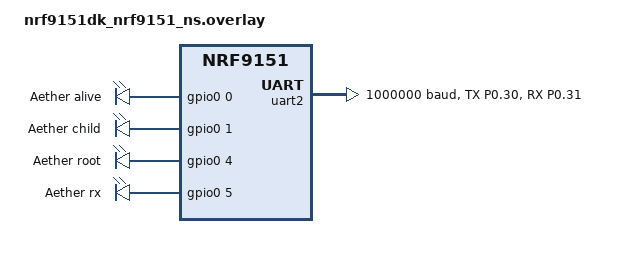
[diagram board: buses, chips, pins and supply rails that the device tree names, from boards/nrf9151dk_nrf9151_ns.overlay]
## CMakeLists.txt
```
# SPDX-License-Identifier: MIT
#
# Æther/HONR mesh demo application over the DECT NR+ PHY.
# Consumes the Æther/HONR mesh stack (aephyr) and 9P4Z as Zephyr modules:
#   west build -b thingy91x/nrf9151/ns . -- \
#     -DZEPHYR_EXTRA_MODULES="/Users/jrsharp/src/aephyr;/Users/jrsharp/src/9p4z"

cmake_minimum_required(VERSION 3.20.0)

find_package(Zephyr REQUIRED HINTS $ENV{ZEPHYR_BASE})
project(dect_mesh)

# Memfault picks up memfault_platform_config.h and the heartbeat metric defs
# from this directory.
zephyr_include_directories(config)

target_sources(app PRIVATE src/main.c)
target_sources(app PRIVATE src/aether_led.c)
target_sources_ifdef(CONFIG_AETHER_CGA app PRIVATE src/cga.c)
target_sources_ifdef(CONFIG_NINEP app PRIVATE src/aether_9p.c)
target_sources_ifdef(CONFIG_NINEP app PRIVATE src/aether_9p_mesh.c)
target_sources_ifdef(CONFIG_NINEP app PRIVATE src/aether_net.c)
target_sources_ifdef(CONFIG_MEMFAULT app PRIVATE src/dect_metrics.c)
```

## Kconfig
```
# SPDX-License-Identifier: MIT

config AETHER_CGA
	bool "Cryptographically Generated Address (persistent node identity)"
	help
	  Derive the durable node_eui from a persistent P-256 keypair held as a
	  PSA persistent key (TF-M Internal Trusted Storage), so the Aether address
	  survives reboots and the private key stays in the secure enclave.
	  Requires PSA crypto (a non-minimal TF-M profile).

source "Kconfig.zephyr"
```

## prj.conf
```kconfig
# DECT NR+ PHY mesh demo application — the Æther/HONR self-organizing mesh (from the
# aephyr module) plus a /net/aether 9P gateway. Memfault and the nRF5340 BLE
# L2CAP<->UART relay are added on top (sysbuild) as follow-on layers.

# --- System ----------------------------------------------------------------
CONFIG_MAIN_STACK_SIZE=4096
CONFIG_SYSTEM_WORKQUEUE_STACK_SIZE=2048
CONFIG_FPU=y
CONFIG_ASSERT=y
# Larger heap: the 9P server allocates its RX/TX message buffers from it.
CONFIG_HEAP_MEM_POOL_SIZE=49152

# --- Networking core + custom L2 -------------------------------------------
# Custom HeyMac L2 (not IP-routed), but net_pkt needs a packet protocol, so
# keep IPv6 selected and silence its housekeeping to save DECT airtime.
CONFIG_NETWORKING=y
CONFIG_NET_L2_CUSTOM=y
CONFIG_NET_IPV6_ND=n
CONFIG_NET_IPV6_DAD=n
CONFIG_NET_IPV6_MLD=n
CONFIG_NET_PKT_RX_COUNT=8
CONFIG_NET_PKT_TX_COUNT=8
CONFIG_NET_BUF_RX_COUNT=16
CONFIG_NET_BUF_TX_COUNT=16
# Hold a whole DECT NR+ frame in ONE net_buf so the mesh RX payload is contiguous
# (aether_mesh_recv reads pkt->buffer->data directly). The Zephyr default of 128
# chained a >128-byte frame across net_bufs and the RX path saw only the first --
# fine for sub-128 LoRa frames, broken for DECT's larger payloads. Match the
# 512-byte tx_frame_buf / max transport block.
CONFIG_NET_BUF_DATA_SIZE=512

# --- Æther/HeyMac mesh (aephyr) with HONR structured routing ---------------
CONFIG_NET_L2_HEYMAC=y
CONFIG_AETHER_MESH=y
CONFIG_AETHER_ROUTING_HONR=y

# --- DECT NR+ PHY driver (US 915 MHz = NR+ band 4, carriers 525-551) --------
# Default to US 915 MHz (band 4 / band group 1). This is the intended operating
# band; overlay-915.conf now just re-sets the same values (redundant). Do NOT
# revert the default to 1711/band-9 (~1920 MHz): a CGA build that forgot the
# overlay silently moved the fleet off 915 -- keep 915 the default so it can't.
CONFIG_AETHER_DECT=y
CONFIG_AETHER_DECT_BAND_GROUP=1
CONFIG_AETHER_DECT_CARRIER=538
CONFIG_AETHER_DECT_TX_POWER=10
CONFIG_AETHER_DECT_MCS=1
CONFIG_AETHER_DECT_TX_QUEUE_SIZE=8
# Inter-chip UART hardening: run the DECT RX frame processor at the SAME priority
# as the 9P/UART server (NINEP_UART_PROC_PRIORITY=6) instead of well above it
# (was 2). At equal priority, timeslicing + the k_yield in the RX loop (aephyr)
# let the two interleave, so a burst of mesh frames can't starve the 9P server
# that answers the companion relay -- the relay<->9151 "uart wedge" under
# mesh-relay load. Deeper RX queue absorbs bursts while RX is timesliced.
CONFIG_AETHER_DECT_RX_THREAD_PRIO=6
CONFIG_AETHER_DECT_RX_QUEUE_SIZE=16

# --- DECT NR+ PHY modem ----------------------------------------------------
CONFIG_NRF_MODEM_LIB=y
CONFIG_NRF_MODEM_LINK_BINARY_DECT_PHY=y
CONFIG_MODEM_ANTENNA=n
CONFIG_HWINFO=y

# Minimal TF-M profile: keeps the secure image's SRAM tiny (~16K vs ~88K for the
# full profile) so the non-secure app gets the RAM it needs. The thingy91x board
# forces this on regardless, but the nRF9151 DK does NOT -- without this line the
# DK build falls back to full TF-M and overflows RAM by ~52K. PSA crypto (for the
# CGA below) is provided app-side by nrf_security/Oberon, so minimal TF-M is fine.
CONFIG_TFM_PROFILE_TYPE_MINIMAL=y

# --- CGA: persistent, key-bound node identity ------------------------------
# node_eui = SHA256(pubkey)[:6] where the keypair is a P-256 scalar seed. The
# pubkey is derived via the Oberon ocrypto P-256 primitive (nrf_security, app-
# side under stock minimal TF-M -- no secure-image bump); these WANTs keep the
# ocrypto P-256 + SHA-256 code linked and provide the CSPRNG for the seed. Stage
# 1 keeps the seed in app-managed NVS via settings. Future state: move the seed
# into TF-M ITS as a PSA persistent key.
CONFIG_AETHER_CGA=y
CONFIG_PSA_WANT_ALG_SHA_256=y
CONFIG_PSA_WANT_ALG_ECDSA=y
CONFIG_PSA_WANT_KEY_TYPE_ECC_KEY_PAIR_IMPORT=y
CONFIG_PSA_WANT_KEY_TYPE_ECC_PUBLIC_KEY=y
CONFIG_PSA_WANT_ECC_SECP_R1_256=y
CONFIG_PSA_WANT_GENERATE_RANDOM=y
# App-managed key persistence (the seed) in NVS via the settings subsystem. The
# settings_storage partition is 8 KB of external QSPI = 2 erase pages, so the NVS
# backend must span exactly 2 sectors (the default 8 would overrun the partition
# and fail to mount).
CONFIG_SETTINGS=y
CONFIG_SETTINGS_NVS=y
CONFIG_NVS=y
CONFIG_SETTINGS_NVS_SECTOR_COUNT=2

# --- Shell (app registers 'aether'; driver registers 'dect') ---------------
CONFIG_SHELL=y
CONFIG_AETHER_SHELL=n
CONFIG_DEVICE_SHELL=y

# --- 9P: expose the mesh as /net/aether over UART --------------------------
# The transport UART is selected by the zephyr,ninep-uart chosen node in
# app.overlay; the nRF5340 relays it to BLE L2CAP for clients.
CONFIG_NINEP=y
CONFIG_NINEP_SERVER=y
CONFIG_NINEP_TRANSPORT_UART=y
# 9P server RX: interrupt-driven, with the handlers run on a dedicated off-ISR
# thread (NINEP_UART_DEFERRED_RX). The old lowest-priority busy-poll got starved
# by the DECT mesh (esp. while scanning for a peer) -> tens-of-seconds reply
# latency -> client timeouts. Deferred-RX keeps the control plane responsive
# regardless of mesh load, and runs the stack-heavy /dev/firmware DFU path
# (flash_img / boot_read_bank_header on the external QSPI) off the ISR.
CONFIG_NINEP_UART_DEFERRED_RX=y
# 9P-vs-mesh scheduling under load (RESOLVED in 0.7.44): the real starvation was
# the DECT *RX frame processor* (aether_dect rx_thread) sitting at PREEMPT(2), far
# above the 9P/UART server (PREEMPT 6). Under mesh-relay load it drained the whole
# rx_msgq back-to-back and starved the 9P server -> the companion relay's reads to
# the 9151 timed out (the "uart wedge"). Fix = equal priority (RX_THREAD_PRIO=6,
# above) + a k_yield in the rx_thread loop (aephyr) so RX and 9P interleave via
# timeslicing instead of RX monopolizing. Past mis-fix: raising 9P to COOP(1) fixed
# the root but starved a busy child's mesh -> its 9P server stopped answering
# Tversion; equal-priority-plus-yield is the balance that works both ways.
# The processing thread's stack -- the DFU/flash path needs real room (the old
# 1024 overflowed: UFSR.STKOF usage fault -> reset).
CONFIG_NINEP_UART_POLLING_STACK_SIZE=8192
CONFIG_NINEP_MAX_MESSAGE_SIZE=8192
CONFIG_NINEP_MAX_FIDS=32
CONFIG_NINEP_MAX_TAGS=16
CONFIG_NINEP_SERVER_MAX_FIDS=32
# Async (worker-dispatched) blocking reads: the /net/aether `data` read blocks
# until a datagram arrives; without this it would freeze the single deferred-RX
# processing thread (and the whole 9P server) for every other request. Each of N
# workers serves one concurrently-blocked conversation read.
CONFIG_NINEP_SERVER_ASYNC_READ=y
CONFIG_NINEP_SERVER_ASYNC_READ_WORKERS=4
CONFIG_SERIAL=y
CONFIG_UART_INTERRUPT_DRIVEN=y

# --- /dev/firmware: this 9151's own MCUboot DFU over 9P ---------------------
# ninep_dfu streams a signed image into the MCUboot secondary slot (which on the
# Thingy:91 X lives in the external GD25LE255E QSPI flash; PM already places it
# there). Re-exported by the 5340 as /dev/fw9151. The external SPI-NOR driver
# (CONFIG_SPI_NOR) is already on for the secondary slot.
CONFIG_NINEP_DFU=y
CONFIG_IMG_MANAGER=y
# MCUboot image version stamped into the signed image header (what /dev/fw9151
# reports as "current"/"pending"). Bump this to make an OTA swap verifiable --
# the VERSION file only drives the boot banner, not the signing version.
CONFIG_MCUBOOT_IMGTOOL_SIGN_VERSION="0.7.84+0"

# Boot-banner app name (default was "My Application"). Keep the VERSION file in
# sync with SIGN_VERSION above so the banner version matches the OTA image.
CONFIG_NCS_APPLICATION_BOOT_BANNER_STRING="DECTstrous Mesh"
# Progressive (page-at-a-time) erase of the secondary slot during streaming,
# not one long up-front erase — keeps USB/BLE alive and feeds watchdogs. On the
# 9151 the secondary is external QSPI flash, where this matters even more.
CONFIG_IMG_ERASE_PROGRESSIVELY=y
CONFIG_STREAM_FLASH=y
CONFIG_FLASH=y
CONFIG_FLASH_MAP=y
CONFIG_REBOOT=y

# --- Memfault: report mesh health to the fleet -----------------------------
# Collection works without a key; paste your project key to upload chunks.
CONFIG_MEMFAULT=y
CONFIG_MEMFAULT_NCS_PROJECT_KEY=""
CONFIG_MEMFAULT_NCS_DEVICE_ID_RUNTIME=y
CONFIG_MEMFAULT_NCS_FW_TYPE="dect-nrplus-mesh"
# Report the real build version to Memfault: leave FW_VERSION unset so it
# defaults to $(APP_VERSION_TWEAK_STRING) -- the VERSION file (e.g. 0.7.40+0) --
# instead of a hardcoded string. Bumping VERSION now tracks through to Memfault.
CONFIG_MEMFAULT_NCS_FW_VERSION_STATIC=y
CONFIG_MEMFAULT_NCS_HW_VERSION="thingy91x"
# High-resolution telemetry cadence for the roaming field test: a 15 s heartbeat
# (paired with the 15 s collector in dect_metrics.c) so RF/link/thermal metrics
# track a mobile node's position closely. Back off for long-term production.
CONFIG_MEMFAULT_METRICS_HEARTBEAT_INTERVAL_SECS=15

# --- Logging ---------------------------------------------------------------
CONFIG_LOG=y
CONFIG_NET_L2_HEYMAC_LOG_LEVEL=3
CONFIG_AETHER_MESH_LOG_LEVEL=3
CONFIG_AETHER_DECT_LOG_LEVEL=3
# 9P server/DFU at WARNING, not INFO. At INFO the server logs every message
# ("Received 9P message", Twalk/Topen/Rclunk); during a 276 KB OTA that floods
# uart0 -> the 5340 console bridge -> CDC. If nothing drains that CDC, the path
# back-pressures and stalls the 9151's 9P server mid-OTA (Tversion -116, only a
# power-cycle recovers it). Silencing the per-message logs keeps the OTA from
# ever flooding the console, so it no longer depends on a console reader.
CONFIG_NINEP_LOG_LEVEL_WRN=y
```

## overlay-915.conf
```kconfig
# DECT NR+ PHY on the US 915 MHz ISM band (band 4) instead of ~1.9 GHz (band 9).
#
#   west build ... --sysbuild -- -Ddect_mesh_EXTRA_CONF_FILE=overlay-915.conf
#
# Channel center frequency (verified: band 1 carrier 1657 -> 1881.792 MHz edge):
#   Fc[MHz] = 450.144 + carrier * 0.864
#
# The modem (mfw-nr+-phy 2.0.0) reports its supported bands via `dect bands`:
#   band 4   group 1 (~1 GHz)  carriers 525-551  -> 903.744-926.208 MHz  pwr class 3
#   band 1/2/9/22            group 0 (~2 GHz)  carriers 1657-1711  ~1.88-1.93 GHz
#
# IMPORTANT: band 22 is NOT 915 MHz on this modem -- it is group 0, carriers
# 1691-1711 ~= 1911-1928 MHz. The sub-GHz / 915 band is *band 4* (group 1).
# CONFIG_AETHER_DECT_BAND_GROUP=1 selects the ~1 GHz group (band 4); the carrier
# MUST be in 525-551 or the modem rejects every TX with UNSUPPORTED_CARRIER
# (0x6000) -- which is exactly what carrier 1701 (a group-0 carrier) did.
#   carrier 525 -> 903.744 MHz   538 -> 914.976 MHz (~915)   551 -> 926.208 MHz
#
# !! GATE BEFORE TRANSMITTING !!
#   1. DONE 2026-06-02: `dect bands` + Nordic docs confirm band 4 = group 1,
#      carriers 525-551, power class 3 (19 dBm max), band_group_index=1.
#   2. Verify the carrier's ACTUAL center with the RTL-SDR. The 538~=915.0 MHz
#      figure is my ETSI-formula extrapolation (Fc=450.144+n*0.864); the exact
#      mapping is modem-internal (ETSI TS 103 636-2 ch 5.2) -- measure, don't trust.
#   3. REGULATORY: Nordic classifies band 4 as **R&D-EVALUATION ONLY** (nRF9151
#      LACA A0/A1; A0AB to be qualified) and warns its 525-551 carriers INTERFERE
#      WITH LTE/cellular. Nordic's DECT PHY docs cite 47 CFR Part 15.323 (US), NOT
#      15.247 -- so this is a bench/experimentation band, not a clean 902-928 ISM
#      deployment channel. Confirm the real regime + keep power low before non-bench TX.

CONFIG_AETHER_DECT_BAND_GROUP=1
CONFIG_AETHER_DECT_CARRIER=538

# Band 4 is power class 3 (vs class 2 for the ~2 GHz bands). Left at the prj.conf
# default index 10 until the RTL-SDR check + FCC EIRP budget are confirmed.
# CONFIG_AETHER_DECT_TX_POWER=...
```

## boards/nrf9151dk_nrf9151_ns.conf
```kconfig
# Board-specific Kconfig for the nRF9151 DK, auto-merged for this board only.
#
# Distinct Memfault software type for the DK build: it is a DIFFERENT binary from
# the Thingy:91 X build (different board memory map + drivers), so its coredumps
# must symbolicate against the DK's own ELF. Memfault keys symbols on
# (software_type, version); sharing the Thingy's type would collide and
# mis-symbolicate. A distinct type keeps the DK's symbols separate -- and lets the
# fleet view tell DK nodes from Thingy nodes.
CONFIG_MEMFAULT_NCS_FW_TYPE="dect-nrplus-mesh-dk"
```

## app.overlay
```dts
/*
 * 9P transport UART. The /net/aether 9P server runs on this UART, separate from
 * the console (uart0). On the Thingy:91X, uart1 is an inter-chip link to the
 * nRF5340, which relays it to BLE L2CAP for clients. On a DK, uart1 is the
 * second VCOM, so the server can be reached directly for bring-up testing.
 */

/ {
	chosen {
		zephyr,ninep-uart = &uart1;
	};
};

&uart1 {
	status = "okay";
	/* Inter-chip 9P link to the nRF5340. Bumped 115200 -> 1 Mbps to lift the
	 * funnel for /net/aether datagram traffic. MUST match the 5340 side; flash
	 * both together (a mismatch breaks the link). Drop to 921600/460800 if the
	 * short inter-chip traces show overruns under sustained OTA streaming. */
	current-speed = <1000000>;
};
```

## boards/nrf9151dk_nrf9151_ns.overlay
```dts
/*
 * nRF9151 DK overlay (mesh node bring-up).
 *
 * This board overlay is auto-applied ONLY for board nrf9151dk/nrf9151/ns, and
 * it REPLACES app.overlay (a board overlay takes precedence over app.overlay in
 * Zephyr's default search), so it must be self-contained.
 *
 * Two DK-specific fixups vs the Thingy:91 X the app targets by default:
 *
 * 1. Mesh-state LEDs. The DK has no RGB LED, so instead of the Thingy's
 *    red/green/blue channels, aether_led.c uses a 4-discrete-LED scheme keyed on
 *    the topo_* nodelabels below (its #if DT_NODE_EXISTS(topo_root) branch):
 *      topo_alive -> LED1 (P0.00)  solid=settled in mesh, blink=searching
 *      topo_child -> LED2 (P0.01)  joined as a child
 *      topo_root  -> LED3 (P0.04)  this node is the HONR root
 *      topo_rx    -> LED4 (P0.05)  datagram activity flash
 *
 * 2. 9P server UART. The app's 9P server needs a chosen zephyr,ninep-uart. On the
 *    Thingy that's uart1 (inter-chip link to the nRF5340, relayed to BLE/USB). The
 *    DK has no spare host VCOM and uart1 is owned by TF-M, so 9P-over-USB is not
 *    available here — this DK is observed via its console shell (uart0/VCOM0) and
 *    is a mesh radio, not a 9P gateway (that's the Thingy's role). To keep the 9P
 *    server's build dependency satisfied we free SERIAL2 (disable the unused
 *    Arduino i2c2 + its unreferenced pcal6408a expander) and bind uart2 to the
 *    freed P0.30/P0.31 pins. The 9P server runs but is not reachable from the host.
 */

#include <zephyr/dt-bindings/gpio/gpio.h>
#include <zephyr/dt-bindings/pinctrl/nrf-pinctrl.h>

/ {
	aether_topo_leds {
		compatible = "gpio-leds";
		topo_alive: topo_alive {
			gpios = <&gpio0 0 GPIO_ACTIVE_HIGH>;
			label = "Aether alive";
		};
		topo_child: topo_child {
			gpios = <&gpio0 1 GPIO_ACTIVE_HIGH>;
			label = "Aether child";
		};
		topo_root: topo_root {
			gpios = <&gpio0 4 GPIO_ACTIVE_HIGH>;
			label = "Aether root";
		};
		topo_rx: topo_rx {
			gpios = <&gpio0 5 GPIO_ACTIVE_HIGH>;
			label = "Aether rx";
		};
	};

	chosen {
		zephyr,ninep-uart = &uart2;
	};
};

&pinctrl {
	uart2_default: uart2_default {
		group1 {
			psels = <NRF_PSEL(UART_TX, 0, 30)>,
				<NRF_PSEL(UART_RX, 0, 31)>;
		};
	};

	uart2_sleep: uart2_sleep {
		group1 {
			psels = <NRF_PSEL(UART_TX, 0, 30)>,
				<NRF_PSEL(UART_RX, 0, 31)>;
			low-power-enable;
		};
	};
};

/* Free SERIAL2 (uart2/i2c2 share the instance) for the 9P server UART. */
&i2c2 {
	status = "disabled";
};

&uart2 {
	status = "okay";
	current-speed = <1000000>;
	pinctrl-0 = <&uart2_default>;
	pinctrl-1 = <&uart2_sleep>;
	pinctrl-names = "default", "sleep";
};
```

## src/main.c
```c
/*
 * Copyright (c) 2025 Æther Authors
 *
 * SPDX-License-Identifier: MIT
 */

#include <zephyr/kernel.h>
#include <zephyr/net/net_if.h>
#include <zephyr/net/heymac.h>
#include <zephyr/net/aether_mesh.h>
#include <zephyr/net/honr.h>
#include "aether_led.h"
#include <zephyr/logging/log.h>
#include <zephyr/shell/shell.h>

LOG_MODULE_REGISTER(aether_basic, LOG_LEVEL_INF);

#include <string.h>
#include <stdio.h>
#include <zephyr/shell/shell_uart.h>

#include "aether_9p.h"
#include "dect_metrics.h"

/* Mesh context, for detailed status (defined in aether_mesh.c). */
extern struct aether_mesh_ctx *g_mesh_ctx;

static struct net_if *aether_iface;

/* Per-node shell prompt, e.g. "ae 1a:2b> ", set once the address is known. */
static char node_prompt[16];

static const char *heymac_state_name(enum heymac_state state)
{
	switch (state) {
	case HEYMAC_STATE_INITIAL:      return "INITIAL";
	case HEYMAC_STATE_INITIALIZING: return "INITIALIZING";
	case HEYMAC_STATE_LURKING:      return "LURKING";
	case HEYMAC_STATE_BEACONING:    return "BEACONING";
	case HEYMAC_STATE_LINKING:      return "LINKING";
	default:                        return "?";
	}
}

/* Party-line broadcast address: every node receives and re-floods. */
static const uint8_t aether_bcast[6] = {0xff, 0xff, 0xff, 0xff, 0xff, 0xff};

/* Party-line chat receive callback: print each incoming message to the
 * console. Runs in the mesh RX thread; printk is used so the line appears
 * regardless of which shell instance (if any) issued a command.
 */
static void chat_recv_cb(struct net_if *iface, const uint8_t src[6],
			 const uint8_t *data, size_t len, bool broadcast, void *user_data)
{
	ARG_UNUSED(iface);
	ARG_UNUSED(user_data);

	/* The party line is broadcast-only; a unicast datagram is not chat. */
	if (!broadcast) {
		return;
	}

	/* Identify the talker by the last two address bytes. */
	printk("\n<chat %02x:%02x> %.*s\n", src[4], src[5], (int)len, (const char *)data);

	/* Mirror into /net/aether/chat for 9P readers (no-op without CONFIG_NINEP). */
	aether_9p_chat_log(src, data, len);
}

static void print_status(void)
{
	struct heymac_addr addr;
	int net_id;
	int neighbor_count, route_count;

	if (!aether_iface) {
		LOG_ERR("Æther interface not available");
		return;
	}

	/* Get HeyMac status */
	if (heymac_get_addr(aether_iface, &addr) == 0) {
		if (heymac_addr_is_short(&addr)) {
			LOG_INF("Local address: %02x:%02x (short)",
				addr.short_addr[0], addr.short_addr[1]);
		} else {
			LOG_INF("Local address: %02x:%02x:%02x:%02x:%02x:%02x (long)",
				addr.long_addr[0], addr.long_addr[1], addr.long_addr[2],
				addr.long_addr[3], addr.long_addr[4], addr.long_addr[5]);
		}
	}

	net_id = heymac_get_network_id(aether_iface);
	if (net_id >= 0) {
		LOG_INF("Network ID: 0x%04x", net_id);
	}

	/* Get mesh status */
	neighbor_count = aether_mesh_get_neighbor_count(aether_iface);
	route_count = aether_mesh_get_route_count(aether_iface);
	
	LOG_INF("Mesh status: %d neighbors, %d routes", neighbor_count, route_count);
}

static void periodic_hello(void)
{
	if (aether_iface) {
		aether_mesh_send_hello(aether_iface);
		LOG_DBG("Periodic hello sent");
	}
}

int main(void)
{
	int ret;
	uint32_t hello_count = 0;

	/* Very early debug to test logging */
	printk("=== MAIN STARTING ===\n");
	LOG_INF("Æther Basic Node Starting");

	/* Wait for network interface to be available */
	aether_iface = net_if_get_default();
	if (!aether_iface) {
		LOG_ERR("No network interface available");
		
		/* List all available interfaces for debugging */
		int count = 0;
		STRUCT_SECTION_FOREACH(net_if, iface) {
			LOG_INF("Found interface %d: %p", count, iface);
			count++;
		}
		LOG_INF("Total interfaces found: %d", count);
		
		return -ENODEV;
	}
	
	LOG_INF("Found default interface: %p", aether_iface);

	/* Bring up the network interface */
	LOG_INF("Bringing up network interface...");
	net_if_up(aether_iface);
	
	/* Wait for interface to be up */
	int attempts = 0;
	while (!net_if_is_up(aether_iface) && attempts < 20) {
		LOG_INF("Waiting for network interface... (attempt %d)", attempts + 1);
		k_sleep(K_MSEC(500));
		attempts++;
	}
	
	if (!net_if_is_up(aether_iface)) {
		LOG_ERR("Failed to bring up network interface after %d attempts", attempts);
		return -ENETDOWN;
	}

	LOG_INF("Network interface is up");

	/* Initialize Æther mesh */
	ret = aether_mesh_init(aether_iface, 0x915E);  /* Use default network ID */
	if (ret < 0) {
		LOG_ERR("Failed to initialize Æther mesh: %d", ret);
		return ret;
	}

	LOG_INF("Æther mesh network ready");

	/* Print received party-line messages to the console. */
	aether_mesh_register_recv_callback(aether_iface, chat_recv_cb, NULL);
	LOG_INF("Party-line chat ready: type 'aether chat <message>'");

	/* Expose the mesh as a /net/aether 9P tree (no-op unless CONFIG_NINEP). */
	if (aether_9p_init(aether_iface) == 0 && IS_ENABLED(CONFIG_NINEP)) {
		LOG_INF("9P server ready: /net/aether");
	}

	/* RGB LED mesh-state indicator (blue=root, green=child, amber=unjoined). */
	aether_led_init(aether_iface);

	/* Memfault: device identity + mesh heartbeat metrics (no-op without it). */
	dect_metrics_init();

	/* Tag the shell prompt with this node's address so the three terminals
	 * are easy to tell apart. The tag matches the talker ID shown in chat.
	 */
	if (g_mesh_ctx) {
		const struct shell *sh = shell_backend_uart_get_ptr();

		snprintf(node_prompt, sizeof(node_prompt), "ae %02x:%02x> ",
			 g_mesh_ctx->local_addr[4], g_mesh_ctx->local_addr[5]);
		if (sh) {
			shell_prompt_change(sh, node_prompt);
		}
	}

	/* Print initial status */
	print_status();

	/* Main application loop */
	while (1) {
		/* Print status every 10 hello intervals */
		if ((hello_count % 10) == 0) {
			print_status();
		}

		/* Send periodic hello */
		periodic_hello();
		hello_count++;

		/* Sleep until next hello interval */
		k_sleep(K_SECONDS(CONFIG_AETHER_HELLO_INTERVAL));
	}

	return 0;
}

/* Shell commands for testing */
#ifdef CONFIG_SHELL

static int cmd_aether_status(const struct shell *sh, size_t argc, char **argv)
{
	struct aether_mesh_ctx *ctx = g_mesh_ctx;
	struct heymac_context *hctx;

	ARG_UNUSED(argc);
	ARG_UNUSED(argv);

	if (!aether_iface || !ctx) {
		shell_error(sh, "Æther interface not available");
		return -ENODEV;
	}

	shell_print(sh, "=== Æther Node Status ===");
	/* identity: the durable node_eui -- use THIS to reference the node (in
	 * `aether deny`, scripts, docs). It survives HONR re-join/re-election. */
	shell_print(sh, "  identity  %02x:%02x:%02x:%02x:%02x:%02x",
		    ctx->node_eui[0], ctx->node_eui[1], ctx->node_eui[2],
		    ctx->node_eui[3], ctx->node_eui[4], ctx->node_eui[5]);
#if defined(CONFIG_AETHER_ROUTING_HONR)
	/* honr addr: the routing-layer address -- churns with the tree (re-join,
	 * re-election). Shown here because neighbor/route tables below are keyed
	 * in this same address space, NOT because it's a stable node reference. */
	shell_print(sh, "  honr addr %02x:%02x:%02x:%02x:%02x:%02x",
		    ctx->local_addr[0], ctx->local_addr[1], ctx->local_addr[2],
		    ctx->local_addr[3], ctx->local_addr[4], ctx->local_addr[5]);
#endif
	shell_print(sh, "  net_id 0x%04x", ctx->mesh_net_id);

	hctx = net_if_l2_data(aether_iface);
	if (hctx) {
		shell_print(sh, "  state  %s", heymac_state_name(hctx->state));
		shell_print(sh, "  rx/tx  %u/%u pkts, %u/%u err",
			    hctx->rx_packets, hctx->tx_packets,
			    hctx->rx_errors, hctx->tx_errors);
		shell_print(sh, "  beacon tx %u, rx %u", hctx->tx_beacons, hctx->rx_beacons);
	}

	/* Neighbors with link quality and recency. */
	shell_print(sh, "  neighbors %d", aether_mesh_get_neighbor_count(aether_iface));
	for (int i = 0; i < CONFIG_AETHER_MAX_NEIGHBORS; i++) {
		if (ctx->neighbors[i].active) {
			uint32_t age = (k_uptime_get_32() - ctx->neighbors[i].last_seen) / 1000;

			shell_print(sh, "    %02x:%02x:%02x:%02x:%02x:%02x  rssi %d  %us ago",
				    ctx->neighbors[i].addr[0], ctx->neighbors[i].addr[1],
				    ctx->neighbors[i].addr[2], ctx->neighbors[i].addr[3],
				    ctx->neighbors[i].addr[4], ctx->neighbors[i].addr[5],
				    ctx->neighbors[i].rssi, age);
		}
	}

	/* Routes. */
	shell_print(sh, "  routes %d", aether_mesh_get_route_count(aether_iface));
	for (int i = 0; i < CONFIG_AETHER_MAX_ROUTES; i++) {
		if (ctx->routes[i].active) {
			shell_print(sh, "    %02x:%02x:%02x:%02x:%02x:%02x  via %02x:%02x  hops %d",
				    ctx->routes[i].dest[0], ctx->routes[i].dest[1],
				    ctx->routes[i].dest[2], ctx->routes[i].dest[3],
				    ctx->routes[i].dest[4], ctx->routes[i].dest[5],
				    ctx->routes[i].next_hop[4], ctx->routes[i].next_hop[5],
				    ctx->routes[i].hop_count);
		}
	}

	shell_print(sh, "  hello  sent %u, recv %u", ctx->hello_sent, ctx->hello_received);
	shell_print(sh, "  fwd %u, drop %u", ctx->packets_forwarded, ctx->packets_dropped);

	return 0;
}

static int cmd_aether_hello(const struct shell *sh, size_t argc, char **argv)
{
	ARG_UNUSED(argc);
	ARG_UNUSED(argv);

	if (!aether_iface) {
		shell_error(sh, "Æther interface not available");
		return -ENODEV;
	}

	int ret = aether_mesh_send_hello(aether_iface);
	if (ret < 0) {
		shell_error(sh, "Failed to send hello: %d", ret);
		return ret;
	}

	shell_print(sh, "Hello message sent");
	return 0;
}

static int cmd_aether_send(const struct shell *sh, size_t argc, char **argv)
{
	uint8_t dst[6];
	const char *message;
	int ret;

	if (argc != 3) {
		shell_error(sh, "Usage: aether send <dst_addr> <message>");
		shell_print(sh, "Example: aether send 01:02:03:04:05:06 \"Hello World\"");
		return -EINVAL;
	}

	if (!aether_iface) {
		shell_error(sh, "Æther interface not available");
		return -ENODEV;
	}

	/* Parse destination address */
	ret = sscanf(argv[1], "%02x:%02x:%02x:%02x:%02x:%02x",
		     (unsigned int *)&dst[0], (unsigned int *)&dst[1], 
		     (unsigned int *)&dst[2], (unsigned int *)&dst[3],
		     (unsigned int *)&dst[4], (unsigned int *)&dst[5]);
	if (ret != 6) {
		shell_error(sh, "Invalid address format. Use: XX:XX:XX:XX:XX:XX");
		return -EINVAL;
	}

	message = argv[2];
	if (strlen(message) > CONFIG_AETHER_MAX_PAYLOAD) {
		shell_error(sh, "Message too long (max %d bytes)", CONFIG_AETHER_MAX_PAYLOAD);
		return -EMSGSIZE;
	}

	/* Send mesh message */
	ret = aether_mesh_send(aether_iface, dst, (const uint8_t *)message, 
			       strlen(message), AETHER_PRIORITY_NORMAL);
	if (ret < 0) {
		shell_error(sh, "Failed to send message: %d", ret);
		return ret;
	}

	shell_print(sh, "Message sent to %02x:%02x:%02x:%02x:%02x:%02x",
		    dst[0], dst[1], dst[2], dst[3], dst[4], dst[5]);
	return 0;
}

static int cmd_aether_info(const struct shell *sh, size_t argc, char **argv)
{
	struct aether_mesh_ctx *ctx = g_mesh_ctx;
	struct heymac_context *hctx;

	ARG_UNUSED(argc);
	ARG_UNUSED(argv);

	if (!aether_iface || !ctx) {
		shell_error(sh, "Æther interface not available");
		return -ENODEV;
	}

	hctx = net_if_l2_data(aether_iface);

	shell_print(sh, "=== Æther Parameters ===");
	/* identity: the durable node_eui -- survives HONR re-join/re-election.
	 * Use this, not the routing address below, to reference the node. */
	shell_print(sh, "  identity    %02x:%02x:%02x:%02x:%02x:%02x",
		    ctx->node_eui[0], ctx->node_eui[1], ctx->node_eui[2],
		    ctx->node_eui[3], ctx->node_eui[4], ctx->node_eui[5]);
	shell_print(sh, "  net_id      0x%04x", ctx->mesh_net_id);
	shell_print(sh, "  mac state   %s", hctx ? heymac_state_name(hctx->state) : "?");
#if defined(CONFIG_AETHER_ROUTING_HONR)
	shell_print(sh, "  honr addr   %04x (%s, routing address -- churns with the tree)",
		    ctx->honr_addr, ctx->honr_joined ? "joined" : "unjoined");
#endif
	shell_print(sh, "  ttl         %d hops", CONFIG_AETHER_DEFAULT_TTL);
	shell_print(sh, "  hello int   %d s", CONFIG_AETHER_HELLO_INTERVAL);
	shell_print(sh, "  beacon int  %d ms", CONFIG_HEYMAC_BEACON_INTERVAL_MS);
	shell_print(sh, "  nbr timeout %d s", CONFIG_AETHER_NEIGHBOR_TIMEOUT);
	shell_print(sh, "  route tmout %d s", CONFIG_AETHER_ROUTE_TIMEOUT);
	shell_print(sh, "  max payload %d bytes", CONFIG_AETHER_MAX_PAYLOAD);
	shell_print(sh, "  max nbrs    %d", CONFIG_AETHER_MAX_NEIGHBORS);
	shell_print(sh, "  max routes  %d", CONFIG_AETHER_MAX_ROUTES);

	return 0;
}

static int cmd_aether_chat(const struct shell *sh, size_t argc, char **argv)
{
	char msg[CONFIG_AETHER_MAX_PAYLOAD + 1];
	size_t off = 0;
	int ret;

	if (argc < 2) {
		shell_error(sh, "Usage: aether chat <message>");
		return -EINVAL;
	}

	if (!aether_iface) {
		shell_error(sh, "Æther interface not available");
		return -ENODEV;
	}

	/* Rejoin the shell-split words into one message. */
	for (size_t i = 1; i < argc; i++) {
		size_t word_len = strlen(argv[i]);

		if (off + word_len + (i > 1 ? 1 : 0) >= sizeof(msg)) {
			shell_error(sh, "Message too long (max %d bytes)",
				    CONFIG_AETHER_MAX_PAYLOAD);
			return -EMSGSIZE;
		}
		if (i > 1) {
			msg[off++] = ' ';
		}
		memcpy(&msg[off], argv[i], word_len);
		off += word_len;
	}
	msg[off] = '\0';

	/* Party-line: broadcast to every node in the mesh. */
	ret = aether_mesh_send(aether_iface, aether_bcast, (const uint8_t *)msg, off,
			       AETHER_PRIORITY_NORMAL);
	if (ret < 0) {
		shell_error(sh, "chat send failed: %d", ret);
		return ret;
	}

	shell_print(sh, "<you> %s", msg);
	return 0;
}

/* Replay the party-line scrollback -- the same rolling buffer /net/aether/chat
 * serves to 9P readers -- so the console can see history, not just messages
 * that happened to arrive while someone was watching. `aether chatlog [n]`
 * shows everything, or just the last n lines. */
static int cmd_aether_chatlog(const struct shell *sh, size_t argc, char **argv)
{
	static char snap[1024];
	size_t len;
	long n_lines = -1;

	if (argc >= 2) {
		char *end;

		n_lines = strtol(argv[1], &end, 10);
		if (*end != '\0' || n_lines < 0) {
			shell_error(sh, "Usage: aether chatlog [n]");
			return -EINVAL;
		}
	}

	len = aether_9p_chat_log_snapshot(snap, sizeof(snap));
	if (len == 0) {
		shell_print(sh, "(no chat history yet)");
		return 0;
	}

	const char *start = snap;

	if (n_lines >= 0) {
		/* Walk back from the end counting newlines to find where the last
		 * n_lines begin: the (n_lines+1)-th newline from the end marks the
		 * end of the line just before the ones we want to keep. */
		const char *p = snap + len;
		long count = 0;

		while (p > snap) {
			p--;
			if (*p == '\n') {
				count++;
				if (count > n_lines) {
					p++;
					break;
				}
			}
		}
		start = p;
	}

	shell_fprintf(sh, SHELL_NORMAL, "%.*s", (int)(snap + len - start), start);
	return 0;
}

/* Parse "xx:xx:xx:xx:xx:xx" into a 6-byte address. (Unlike cmd_aether_send's
 * sscanf into unsigned int* aliased over uint8_t[6] -- that overruns each byte
 * slot by 3 bytes -- parse into unsigned int locals first, then narrow.) */
static int parse_mesh_addr(const char *s, uint8_t addr[6])
{
	unsigned int b[6];
	int n = sscanf(s, "%2x:%2x:%2x:%2x:%2x:%2x",
		       &b[0], &b[1], &b[2], &b[3], &b[4], &b[5]);

	if (n != 6) {
		return -EINVAL;
	}
	for (int i = 0; i < 6; i++) {
		addr[i] = (uint8_t)b[i];
	}
	return 0;
}

/* Bench-test topology forcing: reject a specific neighbor at admission even
 * though it's in radio range, so a relay's hop becomes the only path. See
 * aether_mesh_deny_neighbor() in aephyr for the mechanism. */
static int cmd_aether_deny(const struct shell *sh, size_t argc, char **argv)
{
	uint8_t addr[6];

	ARG_UNUSED(argc);
	if (parse_mesh_addr(argv[1], addr) < 0) {
		shell_error(sh, "Usage: aether deny <xx:xx:xx:xx:xx:xx>");
		return -EINVAL;
	}
	if (!aether_iface) {
		shell_error(sh, "Æther interface not available");
		return -ENODEV;
	}

	int ret = aether_mesh_deny_neighbor(aether_iface, addr);

	if (ret < 0) {
		shell_error(sh, "deny failed: %d (denylist full?)", ret);
		return ret;
	}
	shell_print(sh, "Denied %02x:%02x:%02x:%02x:%02x:%02x -- dropped at RX, "
		    "evicted if already a neighbor", addr[0], addr[1], addr[2],
		    addr[3], addr[4], addr[5]);
	return 0;
}

static int cmd_aether_allow(const struct shell *sh, size_t argc, char **argv)
{
	uint8_t addr[6];

	ARG_UNUSED(argc);
	if (parse_mesh_addr(argv[1], addr) < 0) {
		shell_error(sh, "Usage: aether allow <xx:xx:xx:xx:xx:xx>");
		return -EINVAL;
	}
	if (!aether_iface) {
		shell_error(sh, "Æther interface not available");
		return -ENODEV;
	}

	int ret = aether_mesh_allow_neighbor(aether_iface, addr);

	if (ret < 0) {
		shell_error(sh, "%02x:%02x:%02x:%02x:%02x:%02x was not denied",
			    addr[0], addr[1], addr[2], addr[3], addr[4], addr[5]);
		return ret;
	}
	shell_print(sh, "Allowed %02x:%02x:%02x:%02x:%02x:%02x", addr[0], addr[1],
		    addr[2], addr[3], addr[4], addr[5]);
	return 0;
}

static int cmd_aether_denylist(const struct shell *sh, size_t argc, char **argv)
{
	struct aether_mesh_ctx *ctx = g_mesh_ctx;

	if (argc >= 2 && strcmp(argv[1], "clear") == 0) {
		if (aether_iface) {
			aether_mesh_denylist_clear(aether_iface);
		}
		shell_print(sh, "Denylist cleared");
		return 0;
	}

	if (!ctx) {
		shell_print(sh, "Æther mesh not initialized");
		return 0;
	}
	shell_print(sh, "Denylist (%u):", ctx->denylist_count);
	for (int i = 0; i < ctx->denylist_count; i++) {
		shell_print(sh, "    %02x:%02x:%02x:%02x:%02x:%02x",
			    ctx->denylist[i][0], ctx->denylist[i][1], ctx->denylist[i][2],
			    ctx->denylist[i][3], ctx->denylist[i][4], ctx->denylist[i][5]);
	}
	return 0;
}

#if defined(CONFIG_AETHER_ROUTING_HONR)
/* Consolidated view of this node's place in the HONR tree: its address, depth
 * (rank), parent, and the children it has handed addresses to. Run it on every
 * node to assemble the whole tree by hand.
 */
static int cmd_aether_tree(const struct shell *sh, size_t argc, char **argv)
{
	struct aether_mesh_ctx *ctx = g_mesh_ctx;
	uint16_t addr;
	uint8_t rank;
	int children = 0;

	ARG_UNUSED(argc);
	ARG_UNUSED(argv);

	if (!aether_iface || !ctx) {
		shell_error(sh, "Æther interface not available");
		return -ENODEV;
	}

	addr = ctx->honr_addr;
	rank = honr_rank(addr);

	shell_print(sh, "=== HONR Tree (local view) ===");
	shell_print(sh, "  node     %04x  rank %u (depth)  %s", addr, rank,
		    honr_is_root(addr) ? "ROOT" :
		    (ctx->honr_joined ? "joined" : "unjoined"));
	shell_print(sh, "  node_id  %08x  (lowest id wins the root election)",
		    aether_honr_node_id());

	if (honr_is_root(addr)) {
		shell_print(sh, "  parent   (none - root)");
	} else if (ctx->honr_joined) {
		shell_print(sh, "  parent   %04x", honr_parent(addr));
	} else {
		shell_print(sh, "  parent   (none - not joined yet)");
	}

	for (unsigned int n = HONR_CHILD_MIN; n <= HONR_CHILD_MAX; n++) {
		if (ctx->honr_child_bitmap & BIT(n)) {
			shell_print(sh, "  child    %04x",
				    honr_set_nibble(addr, rank, (uint8_t)n));
			children++;
		}
	}
	if (children == 0) {
		shell_print(sh, "  children (none)");
	} else {
		shell_print(sh, "  children %d of %d slots used", children,
			    (int)(HONR_CHILD_MAX - HONR_CHILD_MIN + 1));
	}

	return 0;
}
#endif /* CONFIG_AETHER_ROUTING_HONR */

SHELL_STATIC_SUBCMD_SET_CREATE(aether_cmds,
	SHELL_CMD_ARG(info, NULL, "Show Æther parameters and MAC state", cmd_aether_info, 1, 0),
	SHELL_CMD_ARG(status, NULL, "Show Æther node status", cmd_aether_status, 1, 0),
#if defined(CONFIG_AETHER_ROUTING_HONR)
	SHELL_CMD_ARG(tree, NULL, "Show HONR tree position (parent/children/rank)",
		      cmd_aether_tree, 1, 0),
#endif
	SHELL_CMD_ARG(hello, NULL, "Send hello message", cmd_aether_hello, 1, 0),
	SHELL_CMD_ARG(chat, NULL, "Broadcast a party-line message", cmd_aether_chat, 2, 20),
	SHELL_CMD_ARG(chatlog, NULL, "Replay party-line chat history: aether chatlog [n]",
		      cmd_aether_chatlog, 1, 1),
	SHELL_CMD_ARG(send, NULL, "Send mesh message to <addr>", cmd_aether_send, 3, 0),
	SHELL_CMD_ARG(deny, NULL, "Deny a neighbor addr (force topology): aether deny <mac>",
		      cmd_aether_deny, 2, 0),
	SHELL_CMD_ARG(allow, NULL, "Un-deny a neighbor addr: aether allow <mac>",
		      cmd_aether_allow, 2, 0),
	SHELL_CMD_ARG(denylist, NULL, "Show/clear the denylist: aether denylist [clear]",
		      cmd_aether_denylist, 1, 1),
	SHELL_SUBCMD_SET_END
);

SHELL_CMD_REGISTER(aether, &aether_cmds, "Æther mesh commands", NULL);

#endif /* CONFIG_SHELL */
```

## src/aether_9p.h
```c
/*
 * Copyright (c) 2026 Æther Authors
 * SPDX-License-Identifier: MIT
 *
 * 9P server exposing the Æther mesh as a /net/aether synthetic filesystem.
 * Runs in-process on the node that owns the mesh (the nRF9151), served over a
 * UART transport. A companion relay (e.g. the Thingy:91X nRF5340 bridging
 * L2CAP<->UART) carries it to clients; the tree it serves is identical whatever
 * the transport, so a client can bind it over the local radio or the relay.
 */

#ifndef AETHER_9P_H_
#define AETHER_9P_H_

#include <zephyr/net/net_if.h>
#include <stdint.h>
#include <stddef.h>

struct ninep_server_config;

#ifdef CONFIG_NINEP
/** @brief Start the 9P server serving /net/aether over the chosen UART. */
int aether_9p_init(struct net_if *iface);

/**
 * @brief Start the second 9P server serving the same namespace over the MESH:
 * reliable unicast datagrams as the transport, one datagram per 9P message.
 * Lets a peer (or a host driving a peer's conversation layer) mount this
 * node's filesystem across the mesh, through relays.
 */
int aether_9p_mesh_init(struct net_if *iface,
			const struct ninep_server_config *base_sc);

/** @brief Append a received party-line message to the /net/aether/chat log. */
void aether_9p_chat_log(const uint8_t src[6], const uint8_t *data, size_t len);

/**
 * @brief Copy the party-line chat scrollback (the same rolling buffer served
 * over /net/aether/chat) into a caller buffer, for the `aether chatlog` shell
 * command -- lets the console see history, not just messages that arrived
 * while it happened to be watching.
 *
 * @param out Destination buffer
 * @param outsz Destination size
 * @return Number of bytes copied (<= outsz)
 */
size_t aether_9p_chat_log_snapshot(char *out, size_t outsz);
#else
static inline int aether_9p_init(struct net_if *iface)
{
	(void)iface;
	return 0;
}
static inline void aether_9p_chat_log(const uint8_t src[6], const uint8_t *data, size_t len)
{
	(void)src;
	(void)data;
	(void)len;
}
static inline size_t aether_9p_chat_log_snapshot(char *out, size_t outsz)
{
	(void)out;
	(void)outsz;
	return 0;
}
#endif /* CONFIG_NINEP */

#endif /* AETHER_9P_H_ */
```

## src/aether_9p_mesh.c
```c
/*
 * Copyright (c) 2026 Æther Authors
 * SPDX-License-Identifier: MIT
 *
 * 9P served over the mesh itself. A second ninep_server instance shares the
 * node's composed namespace (the same union fs the USB/UART path serves), with
 * the mesh's reliable unicast datagrams as the transport: each 9P T-message
 * arrives as one ACKed datagram, each R-message leaves as one. A peer node --
 * or a host driving a peer node's conversation layer -- can mount this node's
 * entire filesystem across the mesh, through relays. This is the 9P-over-Æther
 * milestone: the mesh is not just carrying chat, it is carrying sessions.
 *
 * Transport contract: one datagram == one complete 9P message, so the server's
 * negotiated msize is capped to the mesh payload (get_mtu -> AETHER_MAX_PAYLOAD)
 * and no reassembly is needed on either side.
 *
 * Threading: mesh receive callbacks run on the RX thread, and the reply path
 * (aether_mesh_send_reliable) BLOCKS awaiting the peer's ACK -- which that same
 * RX thread processes. So T-messages are bounced to a dedicated work queue and
 * the server runs there, keeping the RX thread free (the same discipline as
 * 9p4z's session_pool_uart).
 *
 * Service demux: there is no port space on the mesh (yet -- a spec item), so
 * incoming unicast datagrams are recognized as 9P by shape: exact framed length
 * (LE u32 size == datagram length) and a T-message type byte. Anything else is
 * left to the conversation layer untouched.
 */

#include <zephyr/kernel.h>
#include <zephyr/logging/log.h>
#include <zephyr/net/net_if.h>
#include <zephyr/net/aether_mesh.h>
#include <zephyr/9p/server.h>
#include <zephyr/9p/transport.h>
#include <string.h>

#include "aether_9p.h"

LOG_MODULE_REGISTER(aether_9p_mesh, LOG_LEVEL_INF);

static struct ninep_transport mesh_transport;
static struct ninep_server mesh_server;
static struct net_if *mesh_iface;

/* A small RING of pending T-messages instead of one-in-flight. The 9P server is
 * processed serially on the workq (it has per-session fid state), but queuing a
 * few requests lets a STREAMING requester (OTA) keep several writes in flight
 * without the peer dropping the 2nd..Nth as "busy" -- the enabler for a windowed
 * DFU transfer. Each incoming datagram is already ACKed at the mesh layer, so a
 * ring slot is a commitment to process it; the requester's window keeps the ring
 * from overflowing (WINDOW <= MESH9P_RING). */
#define MESH9P_RING 8
struct mesh9p_req {
	uint8_t buf[CONFIG_AETHER_MAX_PAYLOAD];
	size_t  len;
	uint8_t peer[6];
};
static struct mesh9p_req ring[MESH9P_RING];
static uint8_t ring_head;          /* consumer: next to process */
static uint8_t ring_tail;          /* producer: next to fill */
static atomic_t ring_count;
static struct k_spinlock ring_lock;
static uint8_t cur_peer[6];        /* peer of the request being served (mesh9p_send) */

static K_THREAD_STACK_DEFINE(mesh9p_stack, 4096);
static struct k_work_q mesh9p_workq;

/* True while a request is being served BY the mesh 9P server. dfu_status checks
 * this: a DFU write arriving over the mesh must NOT quiesce the mesh (the mesh is
 * the transport carrying the image -- quiescing it kills every subsequent Twrite).
 * The wired (uart/USB) DFU path leaves this false, so it still quiesces as before. */
static atomic_t mesh9p_serving;

bool aether_9p_mesh_serving(void)
{
	return atomic_get(&mesh9p_serving) != 0;
}

static void mesh9p_work_fn(struct k_work *work)
{
	ARG_UNUSED(work);

	/* Drain the ring in FIFO order. New arrivals during processing bump
	 * ring_count and re-submit the work, so nothing is left behind. */
	while (atomic_get(&ring_count) > 0) {
		struct mesh9p_req *r = &ring[ring_head];

		memcpy(cur_peer, r->peer, 6);
		if (mesh_transport.recv_cb) {
			/* Server processes the T and replies via ops->send. */
			atomic_set(&mesh9p_serving, 1);
			mesh_transport.recv_cb(&mesh_transport, r->buf, r->len,
					       mesh_transport.user_data);
			atomic_set(&mesh9p_serving, 0);
		}
		k_spinlock_key_t k = k_spin_lock(&ring_lock);

		ring_head = (ring_head + 1) % MESH9P_RING;
		k_spin_unlock(&ring_lock, k);
		atomic_dec(&ring_count);
	}
}
static K_WORK_DEFINE(mesh9p_work, mesh9p_work_fn);

/* Does this unicast datagram look like a framed 9P T-message? */
static bool looks_like_9p_t(const uint8_t *data, size_t len)
{
	if (len < 7 || len > CONFIG_AETHER_MAX_PAYLOAD) {
		return false;
	}
	uint32_t sz = data[0] | (data[1] << 8) | (data[2] << 16) |
		      ((uint32_t)data[3] << 24);
	if (sz != len) {
		return false;
	}
	/* T-message types are even, Tversion(100)..Twstat(126). */
	return data[4] >= 100 && data[4] <= 126 && (data[4] & 1) == 0;
}

/* Transport flow-control gate (runs on the RX thread, before dedup/ACK): accept a
 * 9P T-message only if the request ring has room. A refusal is not ACKed, so the
 * sender's ARQ retransmits -- lossless backpressure. Non-9P DATA always accepted. */
static bool mesh9p_ack_gate(const uint8_t *payload, size_t len)
{
	if (!looks_like_9p_t(payload, len)) {
		return true;
	}
	return atomic_get(&ring_count) < MESH9P_RING;
}

static void mesh9p_recv_cb(struct net_if *iface, const uint8_t src[6],
			   const uint8_t *data, size_t len, bool broadcast,
			   void *user_data)
{
	ARG_UNUSED(iface);
	ARG_UNUSED(user_data);

	if (broadcast || !looks_like_9p_t(data, len)) {
		return;
	}
	k_spinlock_key_t k = k_spin_lock(&ring_lock);

	if (atomic_get(&ring_count) >= MESH9P_RING) {
		/* Should be rare now (the ack-gate refuses before ACK), but keep the
		 * guard: if it fires, the gate + this node disagree momentarily -- drop. */
		k_spin_unlock(&ring_lock, k);
		LOG_WRN("9P/mesh ring full, dropping T type=%u from %02x:%02x",
			data[4], src[4], src[5]);
		return;
	}
	struct mesh9p_req *r = &ring[ring_tail];

	ring_tail = (ring_tail + 1) % MESH9P_RING;
	k_spin_unlock(&ring_lock, k);

	memcpy(r->buf, data, len);
	r->len = len;
	memcpy(r->peer, src, 6);
	atomic_inc(&ring_count);
	k_work_submit_to_queue(&mesh9p_workq, &mesh9p_work);
}

static int mesh9p_send(struct ninep_transport *transport, const uint8_t *buf,
		       size_t len)
{
	ARG_UNUSED(transport);

	/* Rwrite (type 119) is the DFU stream's per-chunk reply. We SUPPRESS it: the
	 * requester (windowed pusher) never waits for it, delivery is guaranteed by the
	 * Twrite's own transport ARQ (exactly-once) and integrity by MCUboot's signature.
	 * Crucially, actually transmitting a reply per chunk HOGS this node's half-duplex
	 * radio -- while it TXes the Rwrite it cannot RX+ACK the next incoming Twrite, so
	 * the sender's send_reliable retries ~5x (~2 s/chunk, measured). Not sending the
	 * reply frees the radio to receive the stream at full rate. Report success to the
	 * server so its state stays consistent. Non-write R-messages (Rread/Rversion/...,
	 * where a lost reply aborts the op) stay reliable. */
	if (len > 4 && buf[4] == 119) {
		return (int)len;
	}
	int ret = aether_mesh_send_reliable(mesh_iface, cur_peer, buf, len, 3);

	return ret == 0 ? (int)len : ret;
}

static int mesh9p_start(struct ninep_transport *transport)
{
	ARG_UNUSED(transport);
	return 0;
}

static int mesh9p_stop(struct ninep_transport *transport)
{
	ARG_UNUSED(transport);
	return 0;
}

static int mesh9p_get_mtu(struct ninep_transport *transport)
{
	ARG_UNUSED(transport);
	return CONFIG_AETHER_MAX_PAYLOAD;
}

static const struct ninep_transport_ops mesh9p_ops = {
	.send = mesh9p_send,
	.start = mesh9p_start,
	.stop = mesh9p_stop,
	.get_mtu = mesh9p_get_mtu,
};

int aether_9p_mesh_init(struct net_if *iface,
			const struct ninep_server_config *base_sc)
{
	int ret;

	mesh_iface = iface;

	/* Same namespace as the UART/USB server; smaller message ceiling (one
	 * datagram per message; get_mtu clamps the negotiated msize anyway). */
	struct ninep_server_config sc = *base_sc;

	sc.max_message_size = CONFIG_AETHER_MAX_PAYLOAD;

	k_work_queue_start(&mesh9p_workq, mesh9p_stack,
			   K_THREAD_STACK_SIZEOF(mesh9p_stack),
			   K_PRIO_PREEMPT(9), NULL);

	/* (ninep_transport_init is declared but unimplemented in 9p4z; fill the
	 * struct directly, as each concrete transport does. The server installs
	 * its own recv_cb at ninep_server_init.) */
	mesh_transport.ops = &mesh9p_ops;
	mesh_transport.recv_cb = NULL;
	mesh_transport.user_data = NULL;
	mesh_transport.priv_data = NULL;

	ret = ninep_server_init(&mesh_server, &sc, &mesh_transport);
	if (ret < 0) {
		LOG_ERR("mesh 9P server init: %d", ret);
		return ret;
	}
	ret = ninep_server_start(&mesh_server);
	if (ret < 0) {
		LOG_ERR("mesh 9P server start: %d", ret);
		return ret;
	}

	ret = aether_mesh_register_recv_callback(iface, mesh9p_recv_cb, NULL);
	if (ret < 0) {
		LOG_ERR("mesh 9P recv callback: %d", ret);
		return ret;
	}

	/* Backpressure: refuse a 9P T-message at the transport (no ACK -> sender
	 * retransmits) when our request ring is full, instead of accepting it (ACKed)
	 * and then dropping it as "ring full" -- which silently loses a DFU chunk. */
	aether_mesh_set_ack_gate(mesh9p_ack_gate);

	LOG_INF("9P server up over the mesh (msize <= %u, reliable unicast)",
		(unsigned int)CONFIG_AETHER_MAX_PAYLOAD);
	return 0;
}
```

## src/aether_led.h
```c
/*
 * RGB LED mesh-state indicator (Thingy:91 X nRF9151 RGB LED).
 *
 *   blue          = HONR root (0x0000)
 *   green         = joined child
 *   amber blink   = unjoined / electing / orphaned
 *   white flash   = datagram received (party-line / /net/aether activity)
 */
#ifndef AETHER_LED_H_
#define AETHER_LED_H_

#include <zephyr/net/net_if.h>

/* Start the mesh-state LED. Reads HONR state from g_mesh_ctx and registers a
 * recv callback (the mesh supports several) for the RX-activity flash. */
int aether_led_init(struct net_if *iface);

#endif /* AETHER_LED_H_ */
```

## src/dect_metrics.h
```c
/*
 * Copyright (c) 2026 Jon Sharp
 * SPDX-License-Identifier: MIT
 *
 * Memfault device identity + mesh heartbeat metrics. No-ops without CONFIG_MEMFAULT.
 */

#ifndef DECT_METRICS_H_
#define DECT_METRICS_H_

/** @brief Set the Memfault runtime device ID from this node's identity. */
void dect_metrics_init(void);

#endif /* DECT_METRICS_H_ */
```
